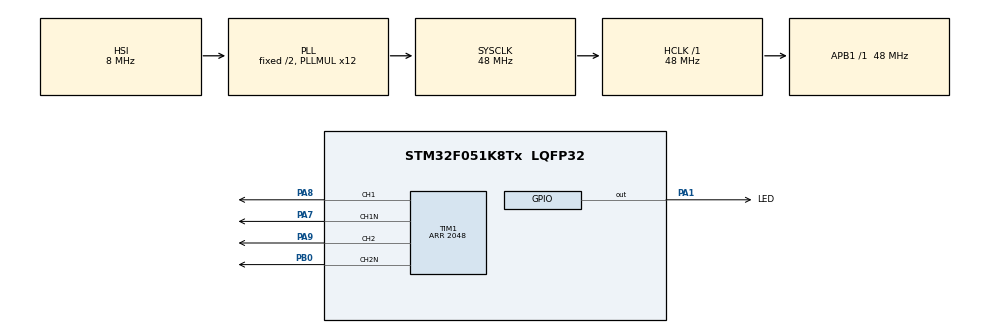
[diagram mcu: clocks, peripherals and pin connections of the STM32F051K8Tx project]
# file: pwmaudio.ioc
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Mcu.Family=STM32F0
Mcu.Name=STM32F051K8Tx
Mcu.Package=LQFP32
NVIC.TIM1_CC_IRQn=true\:0\:0\:false\:false\:true
PA1.GPIO_Label=LED
PA1.Signal=GPIO_Output
PA13.Mode=Serial_Wire
PA13.Signal=SYS_SWDIO
PA14.Mode=Serial_Wire
PA14.Signal=SYS_SWCLK
PA7.Mode=PWM Generation1 CH1 CH1N
PA7.Signal=TIM1_CH1N
PA8.Signal=S_TIM1_CH1
PA9.Signal=S_TIM1_CH2
PB0.Mode=PWM Generation2 CH2 CH2N
PB0.Signal=TIM1_CH2N
ProjectManager.HeapSize=0x200
ProjectManager.StackSize=0x400
ProjectManager.TargetToolchain=SW4STM32
RCC.AHBFreq_Value=48000000
RCC.APB1Freq_Value=48000000
RCC.APB1TimFreq_Value=48000000
RCC.HCLKFreq_Value=48000000
RCC.PLLMUL=RCC_PLL_MUL12
RCC.SYSCLKFreq_VALUE=48000000
RCC.SYSCLKSource=RCC_SYSCLKSOURCE_PLLCLK
SH.S_TIM1_CH1.0=TIM1_CH1,PWM Generation1 CH1 CH1N
SH.S_TIM1_CH2.0=TIM1_CH2,PWM Generation2 CH2 CH2N
TIM1.Channel-PWM\ Generation2\ CH2\ CH2N=TIM_CHANNEL_2
TIM1.DeadTime=1
TIM1.OCNPolarity_1=TIM_OCNPOLARITY_LOW
TIM1.OCNPolarity_2=TIM_OCNPOLARITY_LOW
TIM1.OCPolarity_1=TIM_OCPOLARITY_LOW
TIM1.OCPolarity_2=TIM_OCPOLARITY_LOW
TIM1.Period=2048
TIM1.Pulse-PWM\ Generation1\ CH1\ CH1N=0
TIM1.Pulse-PWM\ Generation2\ CH2\ CH2N=0
board=pwmaudio

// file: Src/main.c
/**
 ******************************************************************************
 * File Name          : main.c
 * Description        : Main program body
 ******************************************************************************
 *
 * COPYRIGHT(c) 2016 STMicroelectronics
 *
 * Redistribution and use in source and binary forms, with or without modification,
 * are permitted provided that the following conditions are met:
 *   1. Redistributions of source code must retain the above copyright notice,
 *      this list of conditions and the following disclaimer.
 *   2. Redistributions in binary form must reproduce the above copyright notice,
 *      this list of conditions and the following disclaimer in the documentation
 *      and/or other materials provided with the distribution.
 *   3. Neither the name of STMicroelectronics nor the names of its contributors
 *      may be used to endorse or promote products derived from this software
 *      without specific prior written permission.
 *
 * THIS SOFTWARE IS PROVIDED BY THE COPYRIGHT HOLDERS AND CONTRIBUTORS "AS IS"
 * AND ANY EXPRESS OR IMPLIED WARRANTIES, INCLUDING, BUT NOT LIMITED TO, THE
 * IMPLIED WARRANTIES OF MERCHANTABILITY AND FITNESS FOR A PARTICULAR PURPOSE ARE
 * DISCLAIMED. IN NO EVENT SHALL THE COPYRIGHT HOLDER OR CONTRIBUTORS BE LIABLE
 * FOR ANY DIRECT, INDIRECT, INCIDENTAL, SPECIAL, EXEMPLARY, OR CONSEQUENTIAL
 * DAMAGES (INCLUDING, BUT NOT LIMITED TO, PROCUREMENT OF SUBSTITUTE GOODS OR
 * SERVICES; LOSS OF USE, DATA, OR PROFITS; OR BUSINESS INTERRUPTION) HOWEVER
 * CAUSED AND ON ANY THEORY OF LIABILITY, WHETHER IN CONTRACT, STRICT LIABILITY,
 * OR TORT (INCLUDING NEGLIGENCE OR OTHERWISE) ARISING IN ANY WAY OUT OF THE USE
 * OF THIS SOFTWARE, EVEN IF ADVISED OF THE POSSIBILITY OF SUCH DAMAGE.
 *
 ******************************************************************************
 */
#include "main.h"
#include "stm32f0xx_hal.h"

TIM_HandleTypeDef htim1;

/* USER CODE BEGIN PV */
/* Private variables ---------------------------------------------------------*/

/* USER CODE END PV */

void SystemClock_Config(void);
void Error_Handler(void);
static void MX_GPIO_Init(void);
static void MX_TIM1_Init(void);
void HAL_TIM_MspPostInit(TIM_HandleTypeDef *htim);

/* USER CODE BEGIN PFP */
/* Private function prototypes -----------------------------------------------*/

/* USER CODE END PFP */

/* USER CODE BEGIN 0 */
/*
 * PWM Frequency
 *
 *	Timer: TIM1
 *	Channel: Channel 1 & 2
 *	APB Clock: 48MHz
 *	Counter Value: 2048
 *	PWM Frequency: 23.4KHz (48MHz/2048)
 *	Dynamic Range: 13bit (-2047 ~ 2047)
 *
 * Reference Signal Data
 *
 *	Signal Type: Sinusoidal
 *  Data Size: 40
 *  Data Type: int16
 *  Frequency: 586Hz (23.4KHz / 40)
 *  Python Code: (2047*np.sin(np.linspace(0,2*np.pi,40))).astype(np.int16)
 */

#define DATA_SIZE			(40)
int16_t sine[DATA_SIZE] = {
	0,  328,  648,  951, 1229, 1476, 1684, 1849, 1966, 2032,
	2045, 2005, 1913, 1772, 1585, 1357, 1094,  802,  489,  164,
	-164, -489, -802,-1094,-1357,-1585,-1772,-1913,-2005,-2045,
	-2032,-1966,-1849,-1684,-1476,-1229, -951, -648, -328,    0};

/* USER CODE END 0 */

int main(void)
{

	/* MCU Configuration----------------------------------------------------------*/

	/* Reset of all peripherals, Initializes the Flash interface and the Systick. */
	HAL_Init();

	/* Configure the system clock */
	SystemClock_Config();

	/* Initialize all configured peripherals */
	MX_GPIO_Init();
	MX_TIM1_Init();

	/* USER CODE BEGIN 2 */
	HAL_TIM_PWM_Start(&htim1,TIM_CHANNEL_1);
	HAL_TIMEx_PWMN_Start(&htim1,TIM_CHANNEL_1);
	HAL_TIM_PWM_Start(&htim1,TIM_CHANNEL_2);
	HAL_TIMEx_PWMN_Start_IT(&htim1,TIM_CHANNEL_2);

	/* USER CODE END 2 */

	/* Infinite loop */
	while (1)
	{

	}

}

/** System Clock Configuration
*/
void SystemClock_Config(void)
{

	RCC_OscInitTypeDef RCC_OscInitStruct;
	RCC_ClkInitTypeDef RCC_ClkInitStruct;

	/**Initializes the CPU, AHB and APB busses clocks
	*/
	RCC_OscInitStruct.OscillatorType = RCC_OSCILLATORTYPE_HSI;
	RCC_OscInitStruct.HSIState = RCC_HSI_ON;
	RCC_OscInitStruct.HSICalibrationValue = 16;
	RCC_OscInitStruct.PLL.PLLState = RCC_PLL_ON;
	RCC_OscInitStruct.PLL.PLLSource = RCC_PLLSOURCE_HSI;
	RCC_OscInitStruct.PLL.PLLMUL = RCC_PLL_MUL12;
	RCC_OscInitStruct.PLL.PREDIV = RCC_PREDIV_DIV1;
	if (HAL_RCC_OscConfig(&RCC_OscInitStruct) != HAL_OK)
	{
		Error_Handler();
	}

	/**Initializes the CPU, AHB and APB busses clocks
	*/
	RCC_ClkInitStruct.ClockType = RCC_CLOCKTYPE_HCLK|RCC_CLOCKTYPE_SYSCLK
		|RCC_CLOCKTYPE_PCLK1;
	RCC_ClkInitStruct.SYSCLKSource = RCC_SYSCLKSOURCE_PLLCLK;
	RCC_ClkInitStruct.AHBCLKDivider = RCC_SYSCLK_DIV1;
	RCC_ClkInitStruct.APB1CLKDivider = RCC_HCLK_DIV1;

	if (HAL_RCC_ClockConfig(&RCC_ClkInitStruct, FLASH_LATENCY_1) != HAL_OK)
	{
		Error_Handler();
	}

	/**Configure the Systick interrupt time
	*/
	HAL_SYSTICK_Config(HAL_RCC_GetHCLKFreq()/1000);

	/**Configure the Systick
	*/
	HAL_SYSTICK_CLKSourceConfig(SYSTICK_CLKSOURCE_HCLK);

	/* SysTick_IRQn interrupt configuration */
	HAL_NVIC_SetPriority(SysTick_IRQn, 0, 0);
}

/* TIM1 init function */
static void MX_TIM1_Init(void)
{

	TIM_MasterConfigTypeDef sMasterConfig;
	TIM_OC_InitTypeDef sConfigOC;
	TIM_BreakDeadTimeConfigTypeDef sBreakDeadTimeConfig;

	htim1.Instance = TIM1;
	htim1.Init.Prescaler = 0;
	htim1.Init.CounterMode = TIM_COUNTERMODE_UP;
	htim1.Init.Period = 2048;
	htim1.Init.ClockDivision = TIM_CLOCKDIVISION_DIV1;
	htim1.Init.RepetitionCounter = 0;
	if (HAL_TIM_PWM_Init(&htim1) != HAL_OK)
	{
		Error_Handler();
	}

	sMasterConfig.MasterOutputTrigger = TIM_TRGO_RESET;
	sMasterConfig.MasterSlaveMode = TIM_MASTERSLAVEMODE_DISABLE;
	if (HAL_TIMEx_MasterConfigSynchronization(&htim1, &sMasterConfig) != HAL_OK)
	{
		Error_Handler();
	}

	sConfigOC.OCMode = TIM_OCMODE_PWM1;
	sConfigOC.Pulse = 0;
	sConfigOC.OCPolarity = TIM_OCPOLARITY_LOW;
	sConfigOC.OCNPolarity = TIM_OCNPOLARITY_LOW;
	sConfigOC.OCFastMode = TIM_OCFAST_DISABLE;
	sConfigOC.OCIdleState = TIM_OCIDLESTATE_RESET;
	sConfigOC.OCNIdleState = TIM_OCNIDLESTATE_RESET;
	if (HAL_TIM_PWM_ConfigChannel(&htim1, &sConfigOC, TIM_CHANNEL_1) != HAL_OK)
	{
		Error_Handler();
	}

	if (HAL_TIM_PWM_ConfigChannel(&htim1, &sConfigOC, TIM_CHANNEL_2) != HAL_OK)
	{
		Error_Handler();
	}

	sBreakDeadTimeConfig.OffStateRunMode = TIM_OSSR_DISABLE;
	sBreakDeadTimeConfig.OffStateIDLEMode = TIM_OSSI_DISABLE;
	sBreakDeadTimeConfig.LockLevel = TIM_LOCKLEVEL_OFF;
	sBreakDeadTimeConfig.DeadTime = 1;
	sBreakDeadTimeConfig.BreakState = TIM_BREAK_DISABLE;
	sBreakDeadTimeConfig.BreakPolarity = TIM_BREAKPOLARITY_HIGH;
	sBreakDeadTimeConfig.AutomaticOutput = TIM_AUTOMATICOUTPUT_DISABLE;
	if (HAL_TIMEx_ConfigBreakDeadTime(&htim1, &sBreakDeadTimeConfig) != HAL_OK)
	{
		Error_Handler();
	}

	HAL_TIM_MspPostInit(&htim1);

}

/** Configure pins as
 * Analog
 * Input
 * Output
 * EVENT_OUT
 * EXTI
 */
static void MX_GPIO_Init(void)
{

	GPIO_InitTypeDef GPIO_InitStruct;

	/* GPIO Ports Clock Enable */
	__HAL_RCC_GPIOA_CLK_ENABLE();
	__HAL_RCC_GPIOB_CLK_ENABLE();

	/*Configure GPIO pin Output Level */
	HAL_GPIO_WritePin(LED_GPIO_Port, LED_Pin, GPIO_PIN_RESET);

	/*Configure GPIO pin : LED_Pin */
	GPIO_InitStruct.Pin = LED_Pin;
	GPIO_InitStruct.Mode = GPIO_MODE_OUTPUT_PP;
	GPIO_InitStruct.Pull = GPIO_NOPULL;
	GPIO_InitStruct.Speed = GPIO_SPEED_FREQ_LOW;
	HAL_GPIO_Init(LED_GPIO_Port, &GPIO_InitStruct);

}

/* USER CODE BEGIN 4 */
void HAL_TIM_PWM_PulseFinishedCallback(TIM_HandleTypeDef *htim)
{
	static int i = 0;

	if(htim == &htim1)
	{
		//HAL_GPIO_TogglePin(LED_GPIO_Port, LED_Pin);

		if(sine[i]>0)
		{
			TIM1->CCR1 = sine[i];
			TIM1->CCR2 = 0;
		}
		else
		{
			TIM1->CCR1 = 0;
			TIM1->CCR2 = -sine[i];
		}

		if(++i == DATA_SIZE)
			i = 0;
	}
}
/* USER CODE END 4 */

void Error_Handler(void)
{
	while(1)
	{
	}
}

/************************ (C) COPYRIGHT STMicroelectronics *****END OF FILE****/
